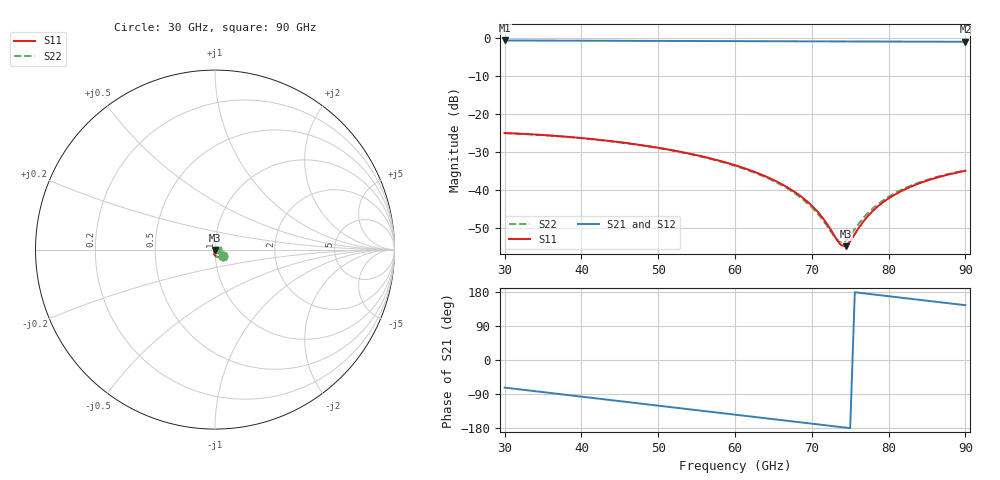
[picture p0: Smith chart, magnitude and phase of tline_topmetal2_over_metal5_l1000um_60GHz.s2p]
#  GHZ S DB R 50
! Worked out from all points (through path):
!   101 points, 30 GHz to 90 GHz, reference 50 ohm
!   highest |S21| = -0.59 dB at 30 GHz (marker M1); lowest = -0.9 dB at 90 GHz (marker M2)
!   group delay of S21, straight-line fit = 6.6 ps
!   lowest |S11| = -54.7 dB at 74.4 GHz (marker M3), VSWR 1.00, Z = 50.1 - j0.131 ohm
!   |S11| at or under -10 dB: start of sweep to end of sweep
!   |S22| runs from -53.7 to -25.0 dB; largest |S21 - S12| = 2.2e-14
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30  -24.94 -40.6  -0.59 -72.8  -0.59 -72.8  -24.96 -40.5
35.4  -25.51 -52.6  -0.62 -85.7  -0.62 -85.7  -25.55 -52.5
40.2  -26.29 -63.3  -0.65 -97.1  -0.65 -97.1  -26.33 -63.2
45  -27.34 -74.0  -0.68 -108.6  -0.68 -108.6  -27.41 -73.8
50.4  -28.94 -85.9  -0.71 -121.4  -0.71 -121.4  -29.03 -85.5
55.8  -31.12 -97.4  -0.74 -134.3  -0.74 -134.3  -31.24 -97.0
60  -33.40 -106.0  -0.76 -144.3  -0.76 -144.3  -33.55 -105.3
63  -35.51 -111.6  -0.78 -151.4  -0.78 -151.4  -35.71 -110.6
66  -38.29 -116.1  -0.80 -158.5  -0.80 -158.5  -38.55 -114.7
68.4  -41.31 -118.0  -0.81 -164.2  -0.81 -164.2  -41.67 -115.8
70.2  -44.43 -116.8  -0.82 -168.5  -0.82 -168.5  -44.88 -113.3
71.4  -47.20 -112.6  -0.83 -171.3  -0.83 -171.3  -47.71 -107.2
73.2  -52.81 -88.6  -0.84 -175.6  -0.84 -175.6  -52.84 -77.2
73.8  -54.43 -69.3  -0.84 -177.0  -0.84 -177.0  -53.73 -57.0
74.4  -54.69 -44.9  -0.85 -178.4  -0.85 -178.4  -53.30 -35.8
75  -53.40 -23.9  -0.85 -179.9  -0.85 -179.9  -51.89 -19.3
76.2  -49.65 -1.8  -0.86 177.3  -0.86 177.3  -48.55 -1.6
77.4  -46.56 6.2  -0.86 174.5  -0.86 174.5  -45.81 5.4
78.6  -44.23 9.0  -0.87 171.6  -0.87 171.6  -43.66 8.0
80.4  -41.62 9.4  -0.88 167.3  -0.88 167.3  -41.22 8.5
84.6  -37.73 4.3  -0.90 157.4  -0.90 157.4  -37.52 3.6
90  -34.88 -5.7  -0.93 144.6  -0.93 144.6  -34.76 -6.2
